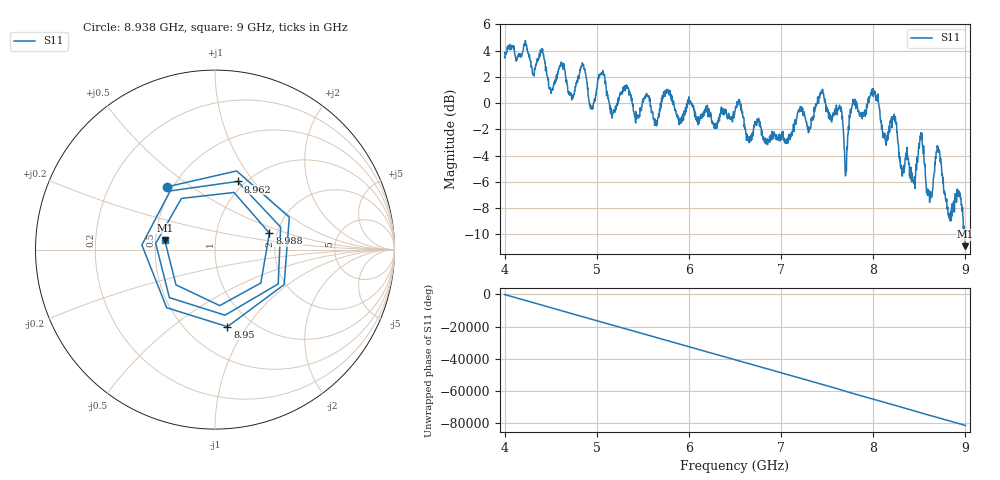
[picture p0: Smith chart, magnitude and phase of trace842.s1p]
! Created with skrf 1.8.0 (http://scikit-rf.org).
# Hz S RI R 50.0
!freq ReS11 ImS11
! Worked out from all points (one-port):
!   1601 points, 4 GHz to 9 GHz, reference 50 ohm
!   lowest |S11| = -10.9 dB at 9 GHz (marker M1), VSWR 1.80, Z = 28 + j3.25 ohm
!   |S11| at or under -10 dB: 8.989879 GHz to end of sweep
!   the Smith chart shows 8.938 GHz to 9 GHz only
!   S11 on the Smith chart (normalised r, x): 8.938 GHz: 0.47, +0.40; 8.95 GHz: 0.77, -0.82; 8.962 GHz: 0.92, +0.84; 8.988 GHz: 1.82, +0.37; 9 GHz: 0.56, +0.07
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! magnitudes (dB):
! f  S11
! 4 GHz  3.5
! 4.403 GHz  4.0
! 4.506 GHz  0.7
! 4.625 GHz  2.9
! 4.731 GHz  0.5
! 4.853 GHz  2.8
! 4.941 GHz  -0.4
! 5.047 GHz  2.3
! 5.25 GHz  0.6
! 5.875 GHz  -1.1
! 6.5 GHz  -0.6
! 7.125 GHz  -2.1
! 7.444 GHz  0.8
! 7.641 GHz  -0.4
! 7.703 GHz  -5.4
! 7.75 GHz  -0.8
! 8 GHz  0.5
! 8.375 GHz  -4.2
! 8.438 GHz  -6.0
! 8.522 GHz  -2.5
! 8.619 GHz  -7.1
! 8.706 GHz  -3.4
! 8.822 GHz  -8.8
! 8.938 GHz  -7.1
! 8.95 GHz  -7.2
! 8.962 GHz  -8.0
! 8.988 GHz  -10.0
! 9 GHz  -10.9
